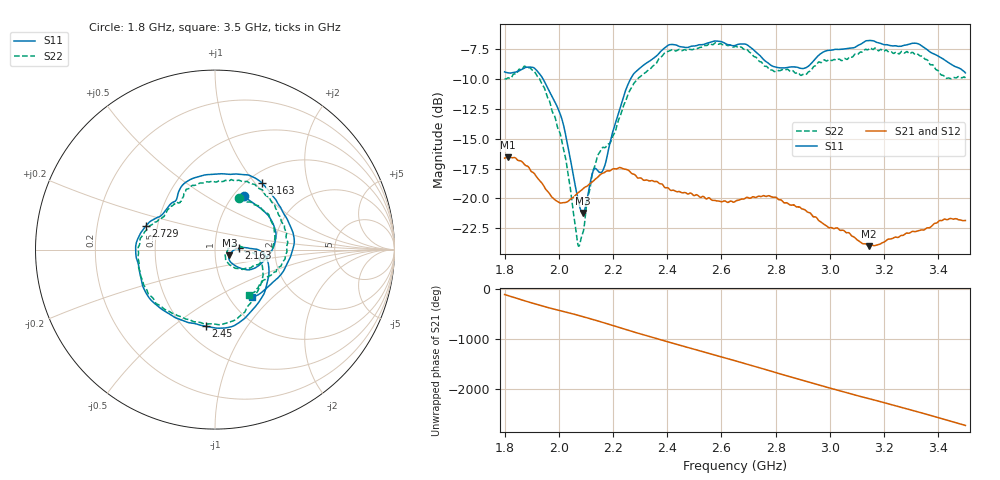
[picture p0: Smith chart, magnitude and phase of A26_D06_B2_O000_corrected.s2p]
! Created with skrf 1.9.0 (http://scikit-rf.org).
# Hz S RI R 50.0
!freq ReS11 ImS11 ReS21 ImS21 ReS12 ImS12 ReS22 ImS22
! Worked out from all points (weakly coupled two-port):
!   1601 points, 1.8 GHz to 3.5 GHz, reference 50 ohm
!   highest |S21| = -16.55 dB at 1.812 GHz (marker M1); lowest = -24.0 dB at 3.143 GHz (marker M2)
!   lowest |S11| = -21.2 dB at 2.089 GHz (marker M3), VSWR 1.19, Z = 58.7 - j3.79 ohm
!   |S11| at or under -10 dB: 1.942 GHz to 2.265 GHz (323.5 MHz wide, 15.4 % of centre)
!   |S22| runs from -24.0 to -7.0 dB; largest |S21 - S12| = 0.0024
!   S11 on the Smith chart (normalised r, x): 1.8 GHz: 1.12, +0.75; 2.163 GHz: 1.30, +0.02; 2.45 GHz: 0.63, -0.66; 2.729 GHz: 0.43, +0.13; 3.163 GHz: 1.15, +1.09; 3.5 GHz: 1.27, -0.75
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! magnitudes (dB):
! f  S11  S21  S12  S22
! 1.8 GHz  -9.4  -16.6  -16.6  -10.0
! 1.812 GHz  -9.5  -16.6  -16.6  -9.9
! 1.88 GHz  -9.0  -17.3  -17.3  -9.1
! 1.942 GHz  -10.0  -18.9  -18.9  -10.6
! 2.011 GHz  -13.4  -20.4  -20.4  -15.3
! 2.068 GHz  -19.7  -19.6  -19.6  -23.5
! 2.084 GHz  -21.1  -19.3  -19.3  -23.2
! 2.089 GHz  -21.2  -19.2  -19.2  -22.9
! 2.127 GHz  -17.7  -18.5  -18.5  -17.6
! 2.163 GHz  -17.6  -17.9  -17.8  -15.7
! 2.26 GHz  -10.2  -17.7  -17.7  -11.1
! 2.367 GHz  -7.9  -18.7  -18.6  -8.4
! 2.45 GHz  -7.3  -19.5  -19.5  -7.6
! 2.65 GHz  -7.2  -20.3  -20.2  -7.3
! 2.729 GHz  -7.8  -19.9  -19.9  -8.2
! 2.807 GHz  -9.1  -20.0  -20.0  -9.3
! 2.934 GHz  -8.7  -21.4  -21.4  -9.2
! 3.143 GHz  -6.8  -24.0  -23.9  -7.5
! 3.163 GHz  -6.8  -23.9  -23.9  -7.5
! 3.217 GHz  -7.2  -23.4  -23.4  -7.8
! 3.325 GHz  -7.1  -22.7  -22.7  -7.9
! 3.5 GHz  -9.5  -21.8  -21.8  -9.9
